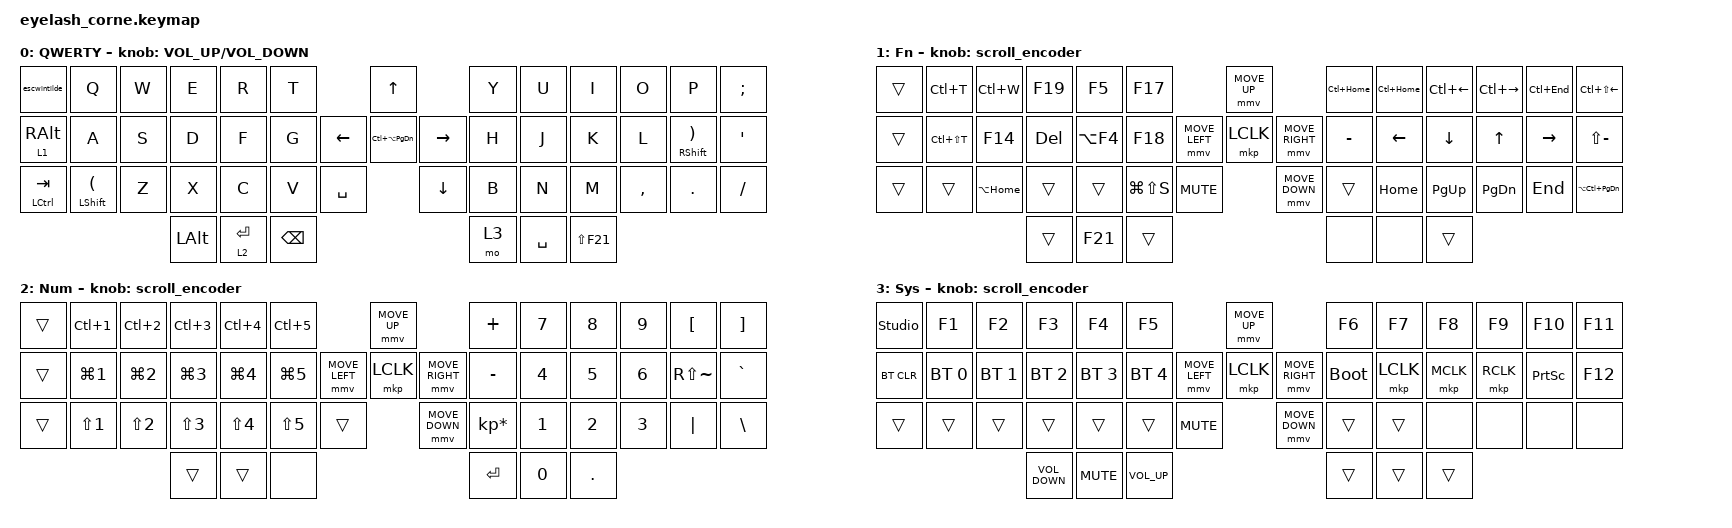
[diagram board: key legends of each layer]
#define ZMK_POINTING_DEFAULT_MOVE_VAL 1200  // 600
#define ZMK_POINTING_DEFAULT_SCRL_VAL 25   // 10

#include <input/processors.dtsi>
#include <zephyr/dt-bindings/input/input-event-codes.h>
#include <behaviors.dtsi>
#include <dt-bindings/zmk/bt.h>
#include <dt-bindings/zmk/keys.h>
#include <dt-bindings/zmk/pointing.h>
#include <dt-bindings/zmk/rgb.h>

&mmv_input_listener { input-processors = <&zip_xy_scaler 2 1>; };

&msc_input_listener { input-processors = <&zip_scroll_scaler 2 1>; };

&msc {
    acceleration-exponent = <1>;      // 0
    time-to-max-speed-ms = <100>;       // 300
    delay-ms = <0>;                   // 0
};

&mmv {
    time-to-max-speed-ms = <500>;
    acceleration-exponent = <1>;
    trigger-period-ms = <16>;
};

&soft_off { hold-time-ms = <2000>; };

&lt {
    flavor = "hold-preferred";
    hold-while-undecided-linger;
};

/ {
    behaviors {
        td0: td0 {
            compatible = "zmk,behavior-tap-dance";
            display-name = "Shift/Caps Lock Tap Dance";
            #binding-cells = <0>;
            bindings = <&kp LEFT_SHIFT>, <&kp CAPS>;
        };

        space_cadet: space_cadet {
            compatible = "zmk,behavior-hold-tap";
            label = "SPACE_CADET";
            bindings = <&kp>, <&kp>;

            #binding-cells = <2>;
            tapping-term-ms = <200>;
            hold-while-undecided;
        };

        escwintilde: escwintilde {
            compatible = "zmk,behavior-mod-morph";
            label = "ESCWINTILDE";
            bindings = <&mt LEFT_WIN ESCAPE>, <&kp TILDE>;

            #binding-cells = <0>;
            mods = <(MOD_RSFT)>;
        };
    };

    rgb_encoder: rgb_encoder {
        compatible = "zmk,behavior-sensor-rotate";
        #sensor-binding-cells = <0>;
        bindings = <&rgb_ug RGB_BRI>, <&rgb_ug RGB_BRD>;
    };

    scroll_encoder: scroll_encoder {
        compatible = "zmk,behavior-sensor-rotate";
        #sensor-binding-cells = <0>;
        bindings = <&msc SCRL_DOWN>, <&msc SCRL_UP>;

        tap-ms = <100>;
    };

    combos {
        compatible = "zmk,combos";

        haneng {
            bindings = <&kp RIGHT_ALT>;
            key-positions = <23 24>;
            slow-release;
        };

        plusminusequal {
            bindings = <&kp EQUAL>;
            key-positions = <7 22>;
            layers = <2>;
        };
    };

    keymap {
        compatible = "zmk,keymap";

        default_layer {
            display-name = "QWERTY";
            bindings = <
&escwintilde            &kp Q                                     &kp W  &kp E         &kp R        &kp T                                 &kp UP                            &kp Y  &kp U      &kp I        &kp O      &kp P                                       &kp SEMICOLON
&lt 1 RIGHT_ALT         &kp A                                     &kp S  &kp D         &kp F        &kp G                       &kp LEFT  &kp LC(LA(PAGE_DOWN))  &kp RIGHT  &kp H  &kp J      &kp K        &kp L      &space_cadet RIGHT_SHIFT RIGHT_PARENTHESIS  &kp SINGLE_QUOTE
&space_cadet LCTRL TAB  &space_cadet LEFT_SHIFT LEFT_PARENTHESIS  &kp Z  &kp X         &kp C        &kp V          &kp SPACE              &kp DOWN                          &kp B  &kp N      &kp M        &kp COMMA  &kp PERIOD                                  &kp SLASH
                                                                         &kp LEFT_ALT  &lt 2 ENTER  &kp BACKSPACE                                                           &mo 3  &kp SPACE  &kp LS(F21)
            >;

            sensor-bindings = <&inc_dec_kp C_VOLUME_UP C_VOLUME_DOWN>;
        };

        layer_action {
            display-name = "Fn";
            bindings = <
&trans  &kp LC(T)      &kp LC(W)     &kp F19  &kp F5      &kp F17                                      &mmv MOVE_UP                     &kp LC(HOME)  &kp LC(HOME)  &kp LC(LEFT)    &kp LC(RIGHT)  &kp LC(END)  &kp LC(LS(LEFT))
&trans  &kp LC(LS(T))  &kp F14       &kp DEL  &kp LA(F4)  &kp F18                      &mmv MOVE_LEFT  &mkp LCLK       &mmv MOVE_RIGHT  &kp MINUS     &kp LEFT      &kp DOWN_ARROW  &kp UP_ARROW   &kp RIGHT    &kp LS(MINUS)
&trans  &trans         &kp LA(HOME)  &trans   &trans      &kp LG(LS(S))  &kp C_MUTE                    &mmv MOVE_DOWN                   &trans        &kp HOME      &kp PG_UP       &kp PAGE_DOWN  &kp END      &kp LA(LC(PG_DN))
                                     &trans   &kp F21     &trans                                                                        &none         &none         &trans
            >;

            sensor-bindings = <&scroll_encoder>;
        };

        layer_number {
            display-name = "Num";
            bindings = <
&trans  &kp LC(NUMBER_1)  &kp LC(NUMBER_2)  &kp LC(NUMBER_3)  &kp LC(NUMBER_4)  &kp LC(N5)                            &mmv MOVE_UP                     &kp PLUS         &kp N7        &kp N8        &kp N9        &kp LEFT_BRACKET  &kp RIGHT_BRACKET
&trans  &kp LG(NUMBER_1)  &kp LG(NUMBER_2)  &kp LG(NUMBER_3)  &kp LG(NUMBER_4)  &kp LG(N5)            &mmv MOVE_LEFT  &mkp LCLK       &mmv MOVE_RIGHT  &kp MINUS        &kp NUMBER_4  &kp N5        &kp NUMBER_6  &kp RS(TILDE)     &kp GRAVE
&trans  &kp LS(NUMBER_1)  &kp LS(NUMBER_2)  &kp LS(NUMBER_3)  &kp LS(NUMBER_4)  &kp LS(N5)  &trans                    &mmv MOVE_DOWN                   &kp KP_MULTIPLY  &kp NUMBER_1  &kp NUMBER_2  &kp NUMBER_3  &kp PIPE          &kp BACKSLASH
                                            &trans            &trans            &none                                                                  &kp RET          &kp N0        &kp DOT
            >;

            sensor-bindings = <&scroll_encoder>;
        };

        layer_system {
            display-name = "Sys";
            bindings = <
&studio_unlock  &kp F1        &kp F2        &kp F3             &kp F4        &kp F5                                         &mmv MOVE_UP                     &kp F6       &kp F7     &kp F8     &kp F9     &kp F10          &kp F11
&bt BT_CLR      &bt BT_SEL 0  &bt BT_SEL 1  &bt BT_SEL 2       &bt BT_SEL 3  &bt BT_SEL 4                   &mmv MOVE_LEFT  &mkp LCLK       &mmv MOVE_RIGHT  &bootloader  &mkp LCLK  &mkp MCLK  &mkp RCLK  &kp PRINTSCREEN  &kp F12
&trans          &trans        &trans        &trans             &trans        &trans           &kp C_MUTE                    &mmv MOVE_DOWN                   &trans       &trans     &none      &none      &none            &none
                                            &kp C_VOLUME_DOWN  &kp C_MUTE    &kp C_VOLUME_UP                                                                 &trans       &trans     &trans
            >;

            sensor-bindings = <&scroll_encoder>;
        };
    };
};
